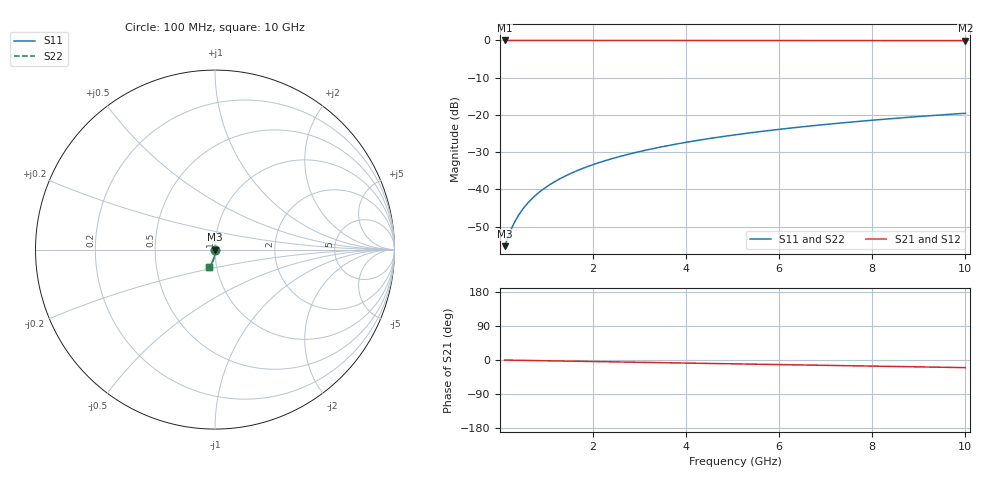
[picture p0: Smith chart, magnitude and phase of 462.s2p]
# Hz S RI R 50.00
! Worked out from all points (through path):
!   100 points, 100 MHz to 10 GHz, reference 50 ohm
!   highest |S21| = -0.01 dB at 100 MHz (marker M1); lowest = -0.1 dB at 10 GHz (marker M2)
!   group delay of S21, straight-line fit = 5.59 ps
!   lowest |S11| = -55.2 dB at 100 MHz (marker M3), VSWR 1.00, Z = 50.1 - j0.108 ohm
!   |S11| at or under -10 dB: start of sweep to end of sweep
!   |S22| runs from -55.2 to -19.6 dB; largest |S21 - S12| = 0
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1e8  0.00135 -0.00108  0.9986 -0.00351  0.9986 -0.00351  0.00135 -0.00108
2e8  0.00135 -0.00216  0.9986 -0.00702  0.9986 -0.00702  0.00135 -0.00216
3e8  0.00133 -0.00324  0.9986 -0.0105  0.9986 -0.0105  0.00133 -0.00324
4e8  0.00131 -0.00432  0.9985 -0.014  0.9985 -0.014  0.00131 -0.00432
5e8  0.00128 -0.00539  0.9984 -0.0176  0.9984 -0.0176  0.00128 -0.00539
6e8  0.00124 -0.00647  0.9984 -0.0211  0.9984 -0.0211  0.00124 -0.00647
7e8  0.00119 -0.00755  0.9983 -0.0246  0.9983 -0.0246  0.00119 -0.00755
9e8  0.00107 -0.00971  0.998 -0.0316  0.998 -0.0316  0.00107 -0.00971
1e9  0.001 -0.0108  0.9979 -0.0351  0.9979 -0.0351  0.001 -0.0108
1.2e9  0.000838 -0.0129  0.9976 -0.0421  0.9976 -0.0421  0.000838 -0.0129
1.5e9  0.000533 -0.0162  0.997 -0.0527  0.997 -0.0527  0.000533 -0.0162
1.8e9  0.000159 -0.0194  0.9963 -0.0632  0.9963 -0.0632  0.000159 -0.0194
2.1e9  -0.000283 -0.0226  0.9955 -0.0737  0.9955 -0.0737  -0.000283 -0.0226
2.5e9  -0.000977 -0.0268  0.9943 -0.0877  0.9943 -0.0877  -0.000977 -0.0268
2.9e9  -0.00179 -0.0311  0.9928 -0.1016  0.9928 -0.1016  -0.00179 -0.0311
3.4e9  -0.00298 -0.0364  0.9907 -0.119  0.9907 -0.119  -0.00298 -0.0364
4.2e9  -0.00526 -0.0447  0.9866 -0.1468  0.9866 -0.1468  -0.00526 -0.0447
5.1e9  -0.00838 -0.0539  0.9809 -0.1779  0.9809 -0.1779  -0.00838 -0.0539
5.9e9  -0.0116 -0.0619  0.975 -0.2053  0.975 -0.2053  -0.0116 -0.0619
6.7e9  -0.0153 -0.0697  0.9683 -0.2324  0.9683 -0.2324  -0.0153 -0.0697
8.4e9  -0.0246 -0.0855  0.9512 -0.2893  0.9512 -0.2893  -0.0246 -0.0855
1e10  -0.035 -0.0993  0.932 -0.3416  0.932 -0.3416  -0.035 -0.0993
